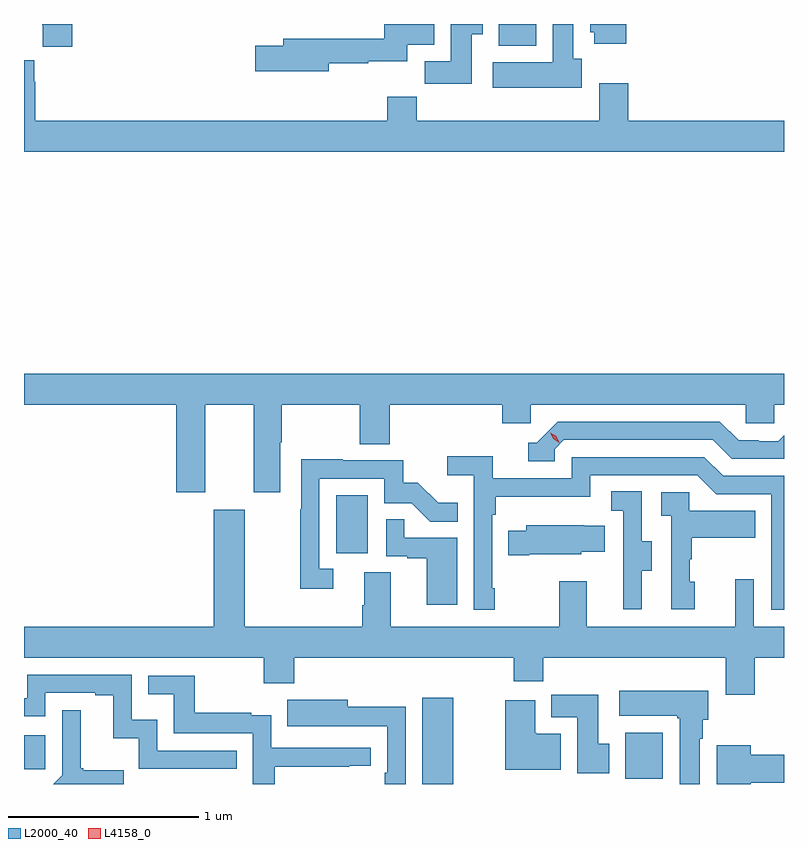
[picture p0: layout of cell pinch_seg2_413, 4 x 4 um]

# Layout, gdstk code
import gdstk
lib = gdstk.Library(unit=1e-6, precision=1e-09)
def R(c, l, rs):  # rectangles x0, y0, x1, y1
    for r in rs: c.add(gdstk.rectangle(r[:2], r[2:], *l))
def P(c, l, *ps):  # polygons
    for p in ps: c.add(gdstk.Polygon(p, *l))
L2000_40 = (2000, 40)
L4158_0 = (4158, 0)

pinch_seg2_413 = lib.new_cell('pinch_seg2_413')
R(pinch_seg2_413, L2000_40, [(925.457,608.344,925.618,608.797), (926.525,608.372,926.722,608.614), (923.36,608.421,923.472,608.601), (925.004,609.558,925.168,609.865), (925.859,612.23,926.056,612.344)])
P(pinch_seg2_413, L2000_40, [(925.717,612.289),(925.774,612.289),(925.774,612.344),(925.607,612.344),(925.607,612.148),(925.468,612.148),(925.468,612.03),(925.717,612.03)],
  [(926.296,612.162),(926.251,612.162),(926.251,612.344),(926.144,612.344),(926.144,612.142),(925.827,612.142),(925.827,612.008),(926.296,612.008)],
  [(924.964,612.138),(925.172,612.138),(925.172,612.149),(925.378,612.149),(925.378,612.236),(925.519,612.236),(925.519,612.344),(925.256,612.344),(925.256,612.266),(924.725,612.266),(924.725,612.23),(924.576,612.23),(924.576,612.095),(924.964,612.095)],
  [(926.531,612.344),(926.339,612.344),(926.339,612.3),(926.36,612.3),(926.36,612.24),(926.531,612.24)],
  [(923.615,612.344),(923.455,612.344),(923.455,612.337),(923.459,612.337),(923.459,612.225),(923.615,612.225)],
  [(927.36,611.836),(926.54,611.836),(926.54,612.031),(926.387,612.031),(926.387,611.836),(925.427,611.836),(925.427,611.96),(925.271,611.96),(925.271,611.836),(923.42,611.836),(923.42,612.041),(923.413,612.041),(923.413,612.154),(923.36,612.154),(923.36,611.672),(927.36,611.672)],
  [(923.36,610.34),(924.161,610.34),(924.161,609.879),(924.313,609.879),(924.313,610.34),(924.569,610.34),(924.569,609.879),(924.709,609.879),(924.709,610.144),(924.717,610.144),(924.717,610.34),(925.126,610.34),(925.126,610.132),(925.286,610.132),(925.286,610.34),(925.877,610.34),(925.877,610.242),(926.028,610.242),(926.028,610.34),(927.159,610.34),(927.159,610.242),(927.309,610.242),(927.309,610.34),(927.36,610.34),(927.36,610.504),(923.36,610.504)],
  [(926.154,610.107),(926.202,610.155),(926.985,610.155),(927.084,610.056),(927.36,610.056),(927.36,610.179),(927.331,610.149),(927.228,610.149),(927.228,610.152),(927.121,610.152),(927.022,610.251),(926.169,610.251),(926.058,610.14),(926.015,610.14),(926.015,610.044),(926.154,610.044)],
  [(925.837,609.373),(925.824,609.373),(925.824,609.761),(925.844,609.761),(925.844,609.857),(926.34,609.857),(926.34,609.969),(926.904,609.969),(927.003,609.87),(927.294,609.87),(927.294,609.261),(927.36,609.261),(927.36,609.966),(927.04,609.966),(926.941,610.065),(926.244,610.065),(926.244,609.954),(925.826,609.954),(925.826,610.07),(925.587,610.07),(925.587,609.968),(925.728,609.968),(925.728,609.261),(925.837,609.261)],
  [(924.988,609.477),(924.915,609.477),(924.915,609.951),(925.257,609.951),(925.257,609.822),(925.401,609.822),(925.499,609.724),(925.643,609.724),(925.643,609.823),(925.539,609.823),(925.432,609.93),(925.356,609.93),(925.356,610.047),(925.037,610.047),(925.037,610.052),(924.819,610.052),(924.819,609.791),(924.814,609.791),(924.814,609.372),(924.988,609.372)],
  [(926.611,609.466),(926.665,609.466),(926.665,609.621),(926.61,609.621),(926.61,609.884),(926.451,609.884),(926.451,609.781),(926.514,609.781),(926.514,609.477),(926.513,609.477),(926.513,609.264),(926.611,609.264)],
  [(926.89,609.408),(926.865,609.408),(926.865,609.527),(926.875,609.527),(926.875,609.641),(927.209,609.641),(927.209,609.781),(926.862,609.781),(926.862,609.879),(926.715,609.879),(926.715,609.755),(926.766,609.755),(926.766,609.264),(926.89,609.264)],
  [(927.206,609.008),(927.36,609.008),(927.36,609.172),(927.201,609.172),(927.201,609.421),(927.104,609.421),(927.104,609.172),(926.323,609.172),(926.323,609.412),(926.176,609.412),(926.176,609.172),(925.291,609.172),(925.291,609.458),(925.151,609.458),(925.151,609.284),(925.139,609.284),(925.139,609.172),(924.523,609.172),(924.523,609.787),(924.359,609.787),(924.359,609.172),(923.36,609.172),(923.36,609.008),(924.622,609.008),(924.622,608.873),(924.782,608.873),(924.782,609.008),(925.937,609.008),(925.937,608.884),(926.093,608.884),(926.093,609.008),(927.053,609.008),(927.053,608.814),(927.206,608.814)],
  [(925.639,609.639),(925.361,609.639),(925.361,609.737),(925.266,609.737),(925.266,609.543),(925.377,609.543),(925.377,609.531),(925.481,609.531),(925.481,609.288),(925.639,609.288)],
  [(926.02,609.554),(926.292,609.554),(926.292,609.566),(926.417,609.566),(926.417,609.703),(926.309,609.703),(926.309,609.706),(926.003,609.706),(926.003,609.676),(925.909,609.676),(925.909,609.547),(926.02,609.547)],
  [(924.479,608.52),(924.06,608.52),(924.06,608.683),(923.928,608.683),(923.928,608.919),(923.376,608.919),(923.376,608.796),(923.36,608.796),(923.36,608.7),(923.472,608.7),(923.472,608.823),(923.735,608.823),(923.735,608.811),(923.831,608.811),(923.831,608.585),(923.964,608.585),(923.964,608.424),(924.479,608.424)],
  [(924.68,608.434),(925.073,608.434),(925.073,608.439),(925.186,608.439),(925.186,608.535),(924.66,608.535),(924.66,608.707),(924.557,608.707),(924.557,608.719),(924.259,608.719),(924.259,608.913),(924.013,608.913),(924.013,608.816),(924.148,608.816),(924.148,608.61),(924.564,608.61),(924.564,608.344),(924.68,608.344)],
  [(926.917,608.582),(926.932,608.582),(926.932,608.682),(926.962,608.682),(926.962,608.836),(926.493,608.836),(926.493,608.702),(926.797,608.702),(926.797,608.689),(926.81,608.689),(926.81,608.344),(926.917,608.344)],
  [(926.44,608.556),(926.383,608.556),(926.383,608.814),(926.135,608.814),(926.135,608.696),(926.273,608.696),(926.273,608.4),(926.44,608.4)],
  [(925.368,608.75),(925.063,608.75),(925.063,608.788),(924.745,608.788),(924.745,608.648),(924.959,608.648),(924.959,608.649),(925.272,608.649),(925.272,608.404),(925.259,608.404),(925.259,608.344),(925.368,608.344)],
  [(926.185,608.608),(926.056,608.608),(926.056,608.614),(926.05,608.614),(926.05,608.785),(925.892,608.785),(925.892,608.42),(926.185,608.42)],
  [(923.884,608.416),(923.671,608.416),(923.671,608.428),(923.659,608.428),(923.659,608.731),(923.562,608.731),(923.562,608.391),(923.515,608.344),(923.884,608.344)],
  [(927.184,608.351),(927.36,608.351),(927.36,608.498),(927.184,608.498),(927.184,608.548),(927.005,608.548),(927.005,608.344),(927.184,608.344)])
P(pinch_seg2_413, L4158_0, [(926.177,610.14),(926.146,610.16),(926.13,610.192),(926.13,610.193),(926.13,610.193),(926.161,610.173),(926.177,610.141),(926.177,610.14)])

lib.write_gds('pinch_seg2_413.gds')
